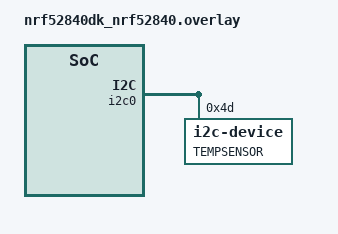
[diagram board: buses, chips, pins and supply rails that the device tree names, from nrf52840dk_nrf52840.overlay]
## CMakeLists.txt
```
# SPDX-License-Identifier: Apache-2.0

cmake_minimum_required(VERSION 3.20.0)
find_package(Zephyr REQUIRED HINTS $ENV{ZEPHYR_BASE})
project(periodic_thread_DigIO)

target_sources(app PRIVATE src/main.c)

zephyr_include_directories(button) #Add this line
target_include_directories(app PRIVATE src/button) #Add this line
target_sources(app PRIVATE src/button/button.c) # Add module c source

zephyr_include_directories(threads) #Add this line
target_include_directories(app PRIVATE src/threads) #Add this line
target_sources(app PRIVATE src/threads/threads.c) # Add module c source

zephyr_include_directories(uart) #Add this line
target_include_directories(app PRIVATE src/uart) #Add this line
target_sources(app PRIVATE src/uart/uart.c) # Add module c source
```

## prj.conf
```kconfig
CONFIG_UART_CONSOLE=y
CONFIG_PRINTK=y

CONFIG_GPIO=y
CONFIG_TIMING_FUNCTIONS=y

CONFIG_SERIAL=y
CONFIG_UART_ASYNC_API=y

CONFIG_I2C=y
CONFIG_CBPRINTF_FP_SUPPORT=y
```

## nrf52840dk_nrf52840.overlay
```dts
// To get started, press Ctrl+Space to bring up the completion menu and view the available nodes.

// You can also use the buttons in the sidebar to perform actions on nodes.
// Actions currently available include:

// * Enabling / disabling the node
// * Adding the bus to a bus
// * Removing the node
// * Connecting ADC channels

// For more help, browse the DeviceTree documentation at https://docs.zephyrproject.org/latest/guides/dts/index.html
// You can also visit the nRF DeviceTree extension documentation at https://nrfconnect.github.io/vscode-nrf-connect/devicetree/nrfdevicetree.html

&i2c0 {
    tempsensor: tempsensor@4D{
        compatible = "i2c-device";
        reg = < 0x4D >;
        label = "TEMPSENSOR";
    };
};
```

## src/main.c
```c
/*!
    \file:   main.c
        \author: Gonçalo Martins <goncalom23@ua.pt> and Filipe Silva <filipe.msilva@ua.pt>
        \date May 29, 2023, 10:22 AM
        \brief
        SETR 22/23, Assignment 4 - Real-Time Embedded Application Development using Zephyr

    The aim of this short project is to implement simple Input/Output sensor/actuator modules, which
    are core parts of modern IoT and IIoT applications. 
    */

#include <zephyr/kernel.h>          /* for kernel functions*/
#include <zephyr/device.h>
#include <zephyr/devicetree.h>
#include <zephyr/drivers/gpio.h>
#include <zephyr/sys/printk.h>
#include <zephyr/timing/timing.h>   /* for timing services */
#include "threads.h"
#include "uart.h"
#include "button.h"

struct DATABASE DB;

#define LED0_NID DT_NODELABEL(led0)
#define LED1_NID DT_NODELABEL(led1)

struct gpio_dt_spec led0_dev = GPIO_DT_SPEC_GET(LED0_NID, gpios); /**< GPIO device structure for LED0. */
struct gpio_dt_spec led1_dev = GPIO_DT_SPEC_GET(LED1_NID, gpios); /**< GPIO device structure for LED1. */


/**
 * @brief Configures the output pins for the LEDs.
 */
void outputs_config()
{
    int ret = 0;
    if (!device_is_ready(led0_dev.port))  
	{
        printk("Fatal error: led0 device not ready!");
		return;
	}
    ret = gpio_pin_configure_dt(&led0_dev, GPIO_OUTPUT_ACTIVE);
    if (ret < 0) 
    {
        printk("Failed to configure led0 \n\r");
	    return;
    }

	if (!device_is_ready(led1_dev.port))  
	{
        printk("Fatal error: led1 device not ready!");
		return;
	}
    ret = gpio_pin_configure_dt(&led1_dev, GPIO_OUTPUT_ACTIVE);
    if (ret < 0) 
    {
        printk("Failed to configure led1 \n\r");
	    return;
    }

    gpio_pin_set_dt(&led0_dev,0);
    gpio_pin_set_dt(&led1_dev,0);
}

/**
 * @brief Configures threads, pins and UART.
 */
void main(void) 
{
    DB.BUTTON1 = 0;
    DB.BUTTON2 = 0;
    DB.BUTTON3 = 0;
    DB.BUTTON4 = 0;
    DB.OUTPUT1 = 0;
    DB.OUTPUT2 = 0;
    DB.ThermTemp = 0;
    outputs_config();
    uartconfig();
    button_config();
    configure_threads();
    
    return;
} 
```
